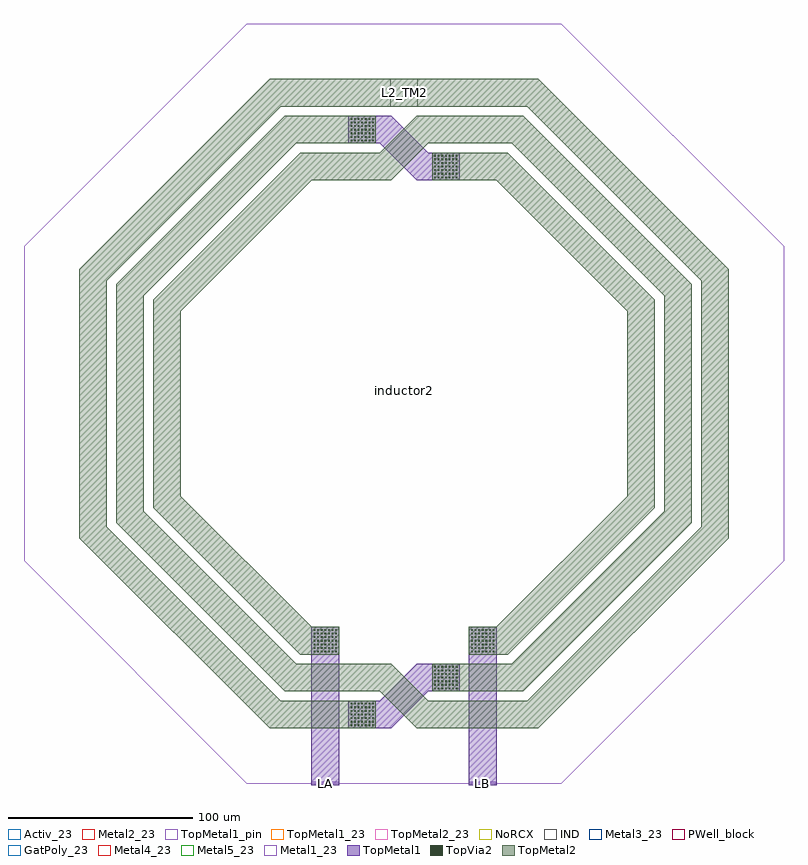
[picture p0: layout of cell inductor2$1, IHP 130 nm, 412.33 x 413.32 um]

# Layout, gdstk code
import gdstk
lib = gdstk.Library(unit=1e-6, precision=1e-09)
def R(c, l, rs):  # rectangles x0, y0, x1, y1
    for r in rs: c.add(gdstk.rectangle(r[:2], r[2:], *l))
def A(c, l, x, y, w, h, nx, ny, dx, dy):  # array of equal rectangles
    R(c, l, [(x+i*dx, y+j*dy, x+i*dx+w, y+j*dy+h) for i in range(nx) for j in range(ny)])
def P(c, l, *ps):  # polygons
    for p in ps: c.add(gdstk.Polygon(p, *l))
Activ_23 = (1, 23)
GatPoly_23 = (5, 23)
Metal1_23 = (8, 23)
Metal2_23 = (10, 23)
IND = (27, 0)
Metal3_23 = (30, 23)
PWell_block = (46, 21)
Metal4_23 = (50, 23)
Metal5_23 = (67, 23)
TopMetal1 = (126, 0)
TopMetal1_pin = (126, 2)
TopMetal1_23 = (126, 23)
TopVia2 = (133, 0)
TopMetal2 = (134, 0)
TopMetal2_23 = (134, 23)
NoRCX = (148, 0)

inductor2_1 = lib.new_cell('inductor2$1')
P(inductor2_1, Activ_23, [(-85.395,0),(-206.163,120.768),(-206.163,291.558),(-85.395,412.325),(85.395,412.325),(206.163,291.558),(206.163,120.768),(85.395,0)])
P(inductor2_1, GatPoly_23, [(-85.395,0),(-206.163,120.768),(-206.163,291.558),(-85.395,412.325),(85.395,412.325),(206.163,291.558),(206.163,120.768),(85.395,0)])
P(inductor2_1, Metal1_23, [(-85.395,0),(-206.163,120.768),(-206.163,291.558),(-85.395,412.325),(85.395,412.325),(206.163,291.558),(206.163,120.768),(85.395,0)])
P(inductor2_1, Metal2_23, [(-85.395,0),(-206.163,120.768),(-206.163,291.558),(-85.395,412.325),(85.395,412.325),(206.163,291.558),(206.163,120.768),(85.395,0)])
R(inductor2_1, IND, [(-7.51,367.295,7.51,382.315)])
P(inductor2_1, Metal3_23, [(-85.395,0),(-206.163,120.768),(-206.163,291.558),(-85.395,412.325),(85.395,412.325),(206.163,291.558),(206.163,120.768),(85.395,0)])
P(inductor2_1, PWell_block, [(-85.395,0),(-206.163,120.768),(-206.163,291.558),(-85.395,412.325),(85.395,412.325),(206.163,291.558),(206.163,120.768),(85.395,0)])
P(inductor2_1, Metal4_23, [(-85.395,0),(-206.163,120.768),(-206.163,291.558),(-85.395,412.325),(85.395,412.325),(206.163,291.558),(206.163,120.768),(85.395,0)])
P(inductor2_1, Metal5_23, [(-85.395,0),(-206.163,120.768),(-206.163,291.558),(-85.395,412.325),(85.395,412.325),(206.163,291.558),(206.163,120.768),(85.395,0)])
P(inductor2_1, TopMetal1, [(6.915,327.265),(-13.105,347.285),(-30.195,347.285),(-30.195,362.285),(-6.915,362.285),(13.105,342.265),(30.195,342.265),(30.195,327.265)],
  [(-30.195,30),(-30.195,45),(-13.115,45),(6.885,65),(30.205,65),(30.205,50),(13.105,50),(-6.895,30)])
R(inductor2_1, TopMetal1_pin, [(-50.195,-1,-35.195,1), (35.195,-1,50.195,1)])
P(inductor2_1, TopMetal1_23, [(-85.395,0),(-206.163,120.768),(-206.163,291.558),(-85.395,412.325),(85.395,412.325),(206.163,291.558),(206.163,120.768),(85.395,0)])
A(inductor2_1, TopVia2, -29.025, 31.17, 0.9, 0.9, 7, 7, 1.96, 1.96)
A(inductor2_1, TopVia2, 16.375, 51.17, 0.9, 0.9, 7, 7, 1.96, 1.96)
A(inductor2_1, TopVia2, -49.025, 71.17, 0.9, 0.9, 7, 7, 1.96, 1.96)
A(inductor2_1, TopVia2, 36.365, 71.17, 0.9, 0.9, 7, 7, 1.96, 1.96)
A(inductor2_1, TopVia2, 16.365, 328.435, 0.9, 0.9, 7, 7, 1.96, 1.96)
A(inductor2_1, TopVia2, -29.025, 348.435, 0.9, 0.9, 7, 7, 1.96, 1.96)
R(inductor2_1, TopMetal2, [(-15.195,367.305,15.195,382.305)])
P(inductor2_1, TopMetal2, [(35.195,70),(35.195,85),(50.17,85),(121.133,155.963),(121.133,256.303),(50.17,327.265),(15.195,327.265),(15.195,342.265),(56.39,342.265),(136.133,262.523),(136.133,149.743),(56.39,70)],
  [(-56.39,70),(-136.133,149.743),(-136.133,262.523),(-56.39,342.265),(-15.195,342.265),(-15.195,327.265),(-50.17,327.265),(-121.133,256.303),(-121.133,155.963),(-50.17,85),(-35.195,85),(-35.195,70)],
  [(-15.195,327.265),(-15.195,342.265),(-13.105,342.265),(6.915,362.285),(15.195,362.285),(15.195,347.285),(13.135,347.285),(-6.885,327.265)],
  [(15.195,50),(15.195,65),(58.46,65),(141.143,147.683),(141.143,264.603),(58.46,347.285),(15.195,347.285),(15.195,362.285),(64.68,362.285),(156.143,270.823),(156.143,141.463),(64.68,50)],
  [(-64.68,50),(-156.143,141.463),(-156.143,270.823),(-64.68,362.285),(-15.195,362.285),(-15.195,347.285),(-58.46,347.285),(-141.143,264.603),(-141.143,147.683),(-58.46,65),(-15.195,65),(-15.195,50)],
  [(15.195,30),(15.195,45),(66.75,45),(161.153,139.403),(161.153,272.903),(66.75,367.305),(15.195,367.305),(15.195,382.305),(72.97,382.305),(176.153,279.123),(176.153,133.183),(72.97,30)],
  [(-72.97,30),(-176.153,133.183),(-176.153,279.123),(-72.97,382.305),(-15.195,382.305),(-15.195,367.305),(-66.75,367.305),(-161.153,272.903),(-161.153,139.403),(-66.75,45),(-15.195,45),(-15.195,30)],
  [(6.895,30),(-13.105,50),(-15.195,50),(-15.195,65),(-6.885,65),(13.115,45),(15.195,45),(15.195,30)])
P(inductor2_1, TopMetal2_23, [(-85.395,0),(-206.163,120.768),(-206.163,291.558),(-85.395,412.325),(85.395,412.325),(206.163,291.558),(206.163,120.768),(85.395,0)])
P(inductor2_1, NoRCX, [(-85.395,0),(-206.163,120.768),(-206.163,291.558),(-85.395,412.325),(85.395,412.325),(206.163,291.558),(206.163,120.768),(85.395,0)])
inductor2_1.add(gdstk.FlexPath([(42.695,-1),(42.695,85)], 15, ends="flush", simple_path=True, layer=126, datatype=0))  # TopMetal1
inductor2_1.add(gdstk.FlexPath([(-42.695,-1),(-42.695,85)], 15, ends="flush", simple_path=True, layer=126, datatype=0))  # TopMetal1
inductor2_1.add(gdstk.Label('L2_TM2', (0,374.805), layer=63, texttype=0))
inductor2_1.add(gdstk.Label('l=1n', (0,379.805), layer=63, texttype=0))
inductor2_1.add(gdstk.Label('r=1m', (0,369.805), layer=63, texttype=0))
inductor2_1.add(gdstk.Label('LB', (42.695,0), layer=63, texttype=0))
inductor2_1.add(gdstk.Label('LA', (-42.695,0), layer=63, texttype=0))
inductor2_1.add(gdstk.Label('inductor2', (0,213.134), layer=63, texttype=0))

lib.write_gds('inductor2_1.gds')
